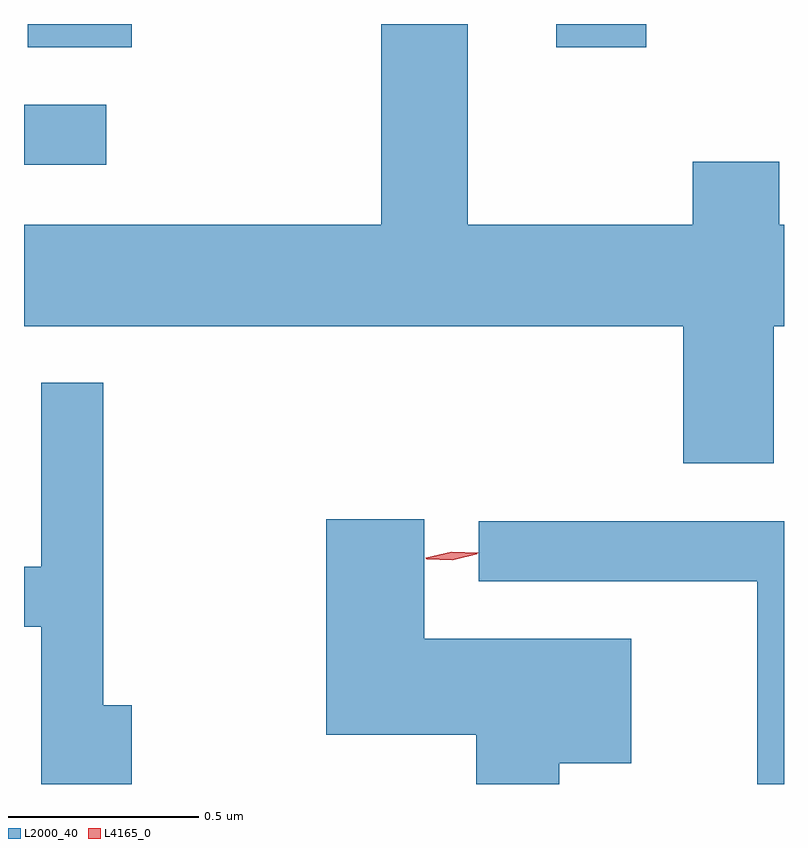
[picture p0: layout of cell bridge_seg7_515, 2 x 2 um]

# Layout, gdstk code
import gdstk
lib = gdstk.Library(unit=1e-6, precision=1e-09)
def R(c, l, rs):  # rectangles x0, y0, x1, y1
    for r in rs: c.add(gdstk.rectangle(r[:2], r[2:], *l))
def P(c, l, *ps):  # polygons
    for p in ps: c.add(gdstk.Polygon(p, *l))
L2000_40 = (2000, 40)
L4165_0 = (4165, 0)

bridge_seg7_515 = lib.new_cell('bridge_seg7_515')
R(bridge_seg7_515, L2000_40, [(1330.391,1732.501,1330.608,1732.659), (1330.401,1732.811,1330.674,1732.872), (1331.791,1732.811,1332.028,1732.872)])
P(bridge_seg7_515, L2000_40, [(1332.364,1732.076),(1332.391,1732.076),(1332.391,1732.344),(1332.379,1732.344),(1332.379,1732.509),(1332.151,1732.509),(1332.151,1732.344),(1331.559,1732.344),(1331.559,1732.872),(1331.331,1732.872),(1331.331,1732.344),(1330.391,1732.344),(1330.391,1732.076),(1332.126,1732.076),(1332.126,1731.716),(1332.364,1731.716)],
  [(1330.674,1731.079),(1330.599,1731.079),(1330.599,1731.928),(1330.436,1731.928),(1330.436,1731.444),(1330.391,1731.444),(1330.391,1731.286),(1330.436,1731.286),(1330.436,1730.872),(1330.674,1730.872)],
  [(1331.799,1730.926),(1331.989,1730.926),(1331.989,1731.254),(1331.444,1731.254),(1331.444,1731.569),(1331.186,1731.569),(1331.186,1731.001),(1331.581,1731.001),(1331.581,1730.872),(1331.799,1730.872)],
  [(1332.391,1731.564),(1331.588,1731.564),(1331.588,1731.406),(1332.321,1731.406),(1332.321,1730.872),(1332.391,1730.872)])
P(bridge_seg7_515, L4165_0, [(1331.518,1731.463),(1331.448,1731.466),(1331.448,1731.466),(1331.448,1731.467),(1331.516,1731.483),(1331.585,1731.48),(1331.586,1731.48),(1331.585,1731.479)],
  [(1331.518,1731.461),(1331.451,1731.464),(1331.45,1731.465),(1331.451,1731.465),(1331.516,1731.481),(1331.582,1731.478),(1331.583,1731.477),(1331.582,1731.477)])

lib.write_gds('bridge_seg7_515.gds')
